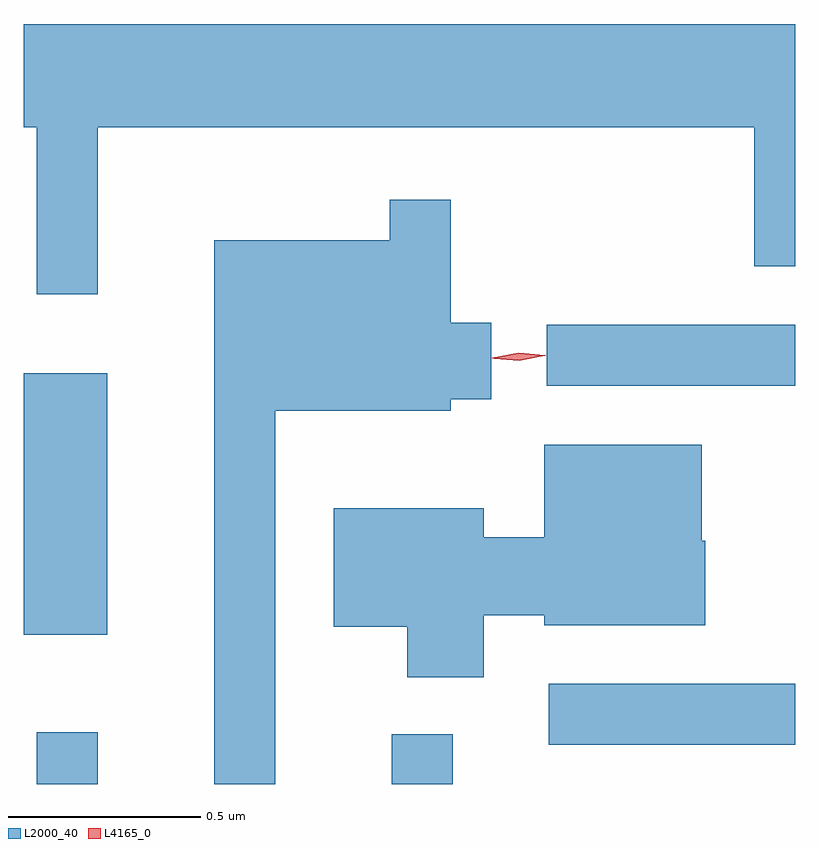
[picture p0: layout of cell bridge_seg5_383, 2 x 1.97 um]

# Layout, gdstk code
import gdstk
lib = gdstk.Library(unit=1e-6, precision=1e-09)
def R(c, l, rs):  # rectangles x0, y0, x1, y1
    for r in rs: c.add(gdstk.rectangle(r[:2], r[2:], *l))
def P(c, l, *ps):  # polygons
    for p in ps: c.add(gdstk.Polygon(p, *l))
L2000_40 = (2000, 40)
L4165_0 = (4165, 0)

bridge_seg5_383 = lib.new_cell('bridge_seg5_383')
R(bridge_seg5_383, L2000_40, [(943.986,1450.654,944.144,1450.788), (944.906,1450.654,945.064,1450.783), (945.313,1450.756,945.952,1450.914), (943.952,1451.041,944.169,1451.719), (945.308,1451.686,945.952,1451.844)])
P(bridge_seg5_383, L2000_40, [(944.144,1452.356),(945.846,1452.356),(945.846,1451.996),(945.952,1451.996),(945.952,1452.624),(943.952,1452.624),(943.952,1452.356),(943.986,1452.356),(943.986,1451.923),(944.144,1451.923)],
  [(944.604,1451.621),(945.059,1451.621),(945.059,1451.651),(945.164,1451.651),(945.164,1451.849),(945.059,1451.849),(945.059,1452.168),(944.901,1452.168),(944.901,1452.064),(944.446,1452.064),(944.446,1450.654),(944.604,1450.654)],
  [(945.144,1451.091),(945.301,1451.091),(945.301,1451.066),(945.719,1451.066),(945.719,1451.285),(945.709,1451.285),(945.709,1451.534),(945.301,1451.534),(945.301,1451.294),(945.144,1451.294),(945.144,1451.369),(944.756,1451.369),(944.756,1451.061),(944.946,1451.061),(944.946,1450.931),(945.144,1450.931)])
P(bridge_seg5_383, L4165_0, [(945.236,1451.752),(945.167,1451.758),(945.167,1451.759),(945.167,1451.759),(945.235,1451.772),(945.304,1451.765),(945.305,1451.765),(945.304,1451.764)],
  [(945.237,1451.751),(945.172,1451.756),(945.171,1451.757),(945.172,1451.757),(945.236,1451.77),(945.301,1451.765),(945.302,1451.764),(945.301,1451.764)])

lib.write_gds('bridge_seg5_383.gds')
